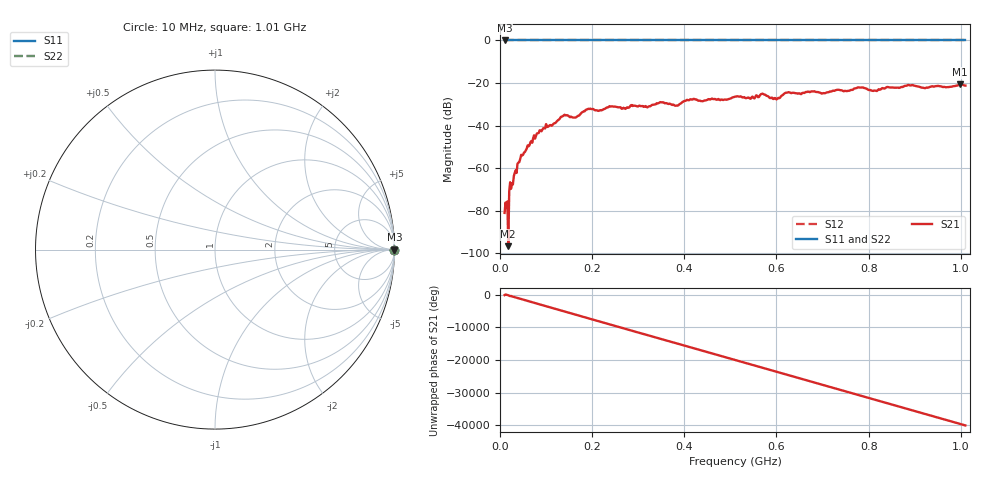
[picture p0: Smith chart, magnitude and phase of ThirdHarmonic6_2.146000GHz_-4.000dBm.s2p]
! 8/17/2025 1:37:37 AM
! C:\ANRITSUVNA\TEMP\TEMP.S2P
! CHANNEL.1
! TR.MEASUREMENT
! RAW.DATA
! RF.CORRECTION.OFF
! AVERAGING.OFF
! IF.BANDWIDTH: 5KHZ
! SWEEPTYPE:  FREQ.SWEEP(Linear)
! Reference Plane Port Info
! PORT:  PORT1  PORT2
! DISTANCE:  0  m  0  m
! TIME:  0  s  0  s
! PHASE.OFFSET:  0  deg.  0  deg.
! LOSS:  0  dB  0  dB
! REF.LOSS:  0  dB  0  dB
! REF.FREQ:  0  Hz  0  Hz
! Power Info
! POWER:  -20  dBm  -20  dBm
! EFF.POWER:  -20  dBm  -20  dBm
! SOURCE.ATTEN:  0  dB  0  dB
! TEST.ATTEN:  0  dB  0  dB
# GHZ S RI R 50.0
! FREQ.GHZ  S11RE  S11IM  S21RE  S21IM  S12RE  S12IM  S22RE  S22IM
!; PortSelection: Port_12
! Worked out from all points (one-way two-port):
!   501 points, 10 MHz to 1.01 GHz, reference 50 ohm
!   highest |S21| = -20.62 dB at 998 MHz (marker M1); lowest = -96.6 dB at 18 MHz (marker M2)
!   lowest |S11| = 0.0 dB at 10 MHz (marker M3)
!   |S11| at or under -10 dB: nowhere
!   |S22| runs from 0.0 to 0.0 dB; largest |S21 - S12| = 1.1
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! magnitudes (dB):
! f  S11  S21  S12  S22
! 10 MHz  0.0  -81.0  0.0  0.0
! 14 MHz  0.0  -78.7  0.0  0.0
! 18 MHz  0.0  -96.6  0.0  0.0
! 24 MHz  0.0  -69.7  0.0  0.0
! 42 MHz  0.0  -57.1  0.0  0.0
! 76 MHz  0.0  -46.1  0.0  0.0
! 136 MHz  0.0  -35.6  0.0  0.0
! 162 MHz  0.0  -36.2  0.0  0.0
! 178 MHz  0.0  -33.8  0.0  0.0
! 344 MHz  0.0  -29.5  0.0  0.0
! 384 MHz  0.0  -30.6  0.0  0.0
! 416 MHz  0.0  -27.8  0.0  0.0
! 510 MHz  0.0  -26.4  0.0  0.0
! 570 MHz  0.0  -25.0  0.0  0.0
! 598 MHz  0.0  -27.1  0.0  0.0
! 622 MHz  0.0  -24.6  0.0  0.0
! 678 MHz  0.0  -23.9  0.0  0.0
! 782 MHz  0.0  -22.1  0.0  0.0
! 814 MHz  0.0  -23.5  0.0  0.0
! 844 MHz  0.0  -22.0  0.0  0.0
! 998 MHz  0.0  -20.6  0.0  0.0
! 1.01 GHz  0.0  -21.2  0.0  0.0
